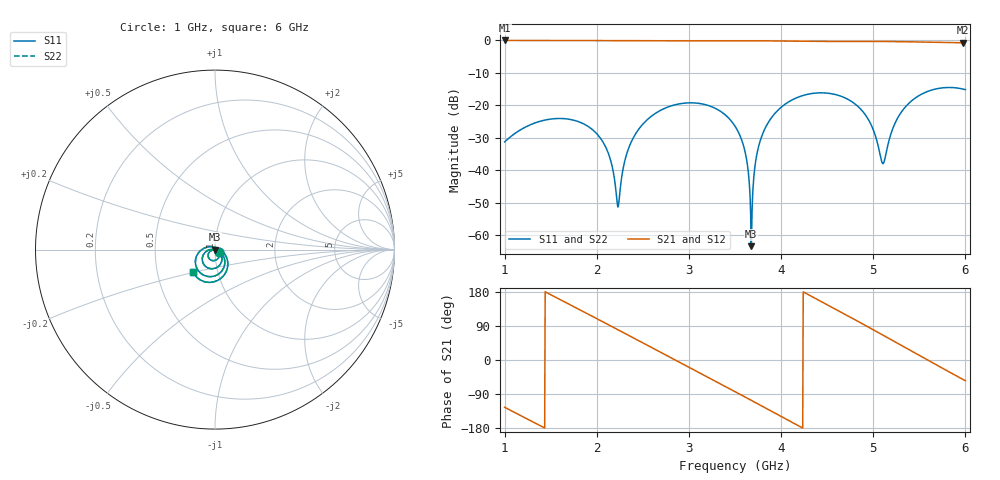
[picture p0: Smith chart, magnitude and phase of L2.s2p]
! Created Fri Aug  9 09:51:14 2024
! List of port names and net name(s): example Port n = <port_name> <net_name1> <net_name2> ...
! Port 1 = P1 P2
! Port 2 = P2 P2
# hz S ri R 50
! 2 Port Network Data from data block
! freq  reS11  imS11  reS21  imS21  reS12  imS12  reS22  imS22
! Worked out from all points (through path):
!   1001 points, 1 GHz to 6 GHz, reference 50 ohm
!   highest |S21| = -0.04 dB at 1 GHz (marker M1); lowest = -0.7 dB at 5.97 GHz (marker M2)
!   group delay of S21, straight-line fit = 361 ps
!   lowest |S11| = -63.3 dB at 3.675 GHz (marker M3), VSWR 1.00, Z = 49.9 + j0.0417 ohm
!   |S11| at or under -10 dB: start of sweep to end of sweep
!   |S22| runs from -63.3 to -14.5 dB; largest |S21 - S12| = 0
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1e9  0.0223 -0.016  -0.567 -0.8174  -0.567 -0.8174  0.0223 -0.016
1.425e9  0.00437 -0.0587  -0.9902 -0.0321  -0.9902 -0.0321  0.00437 -0.0587
1.835e9  -0.0382 -0.0379  -0.637 0.7558  -0.637 0.7558  -0.0382 -0.0379
2.095e9  -0.0222 -0.00654  -0.1219 0.981  -0.1219 0.981  -0.0222 -0.00654
2.23e9  -0.000397 -0.00271  0.1745 0.973  0.1745 0.973  -0.000397 -0.00271
2.375e9  0.0236 -0.0143  0.4754 0.8661  0.4754 0.8661  0.0236 -0.0143
2.67e9  0.0345 -0.0729  0.9041 0.3902  0.9041 0.3902  0.0345 -0.0729
3.05e9  -0.0411 -0.1012  0.8856 -0.4203  0.8856 -0.4203  -0.0411 -0.1012
3.5e9  -0.0471 -0.00869  0.1127 -0.9756  0.1127 -0.9756  -0.0471 -0.00869
3.61e9  -0.0191 0.00144  -0.1324 -0.9736  -0.1324 -0.9736  -0.0191 0.00144
3.675e9  -0.000543 0.000417  -0.2749 -0.9432  -0.2749 -0.9432  -0.000543 0.000417
3.745e9  0.0188 -0.0069  -0.4215 -0.8869  -0.4215 -0.8869  0.0188 -0.0069
3.85e9  0.0423 -0.029  -0.6196 -0.7598  -0.6196 -0.7598  0.0423 -0.029
4.335e9  -0.022 -0.1506  -0.9413 0.2106  -0.9413 0.2106  -0.022 -0.1506
4.785e9  -0.1031 -0.0373  -0.3054 0.9104  -0.3054 0.9104  -0.1031 -0.0373
4.965e9  -0.0534 0.0105  0.0919 0.9568  0.0919 0.9568  -0.0534 0.0105
5.1e9  0.00147 0.0128  0.3864 0.8789  0.3864 0.8789  0.00147 0.0128
5.17e9  0.0285 0.000418  0.5254 0.8015  0.5254 0.8015  0.0285 0.000418
5.315e9  0.0662 -0.0492  0.7604 0.5732  0.7604 0.5732  0.0662 -0.0492
5.56e9  0.0426 -0.1513  0.9341 0.0628  0.9341 0.0628  0.0426 -0.1513
5.97e9  -0.1177 -0.1342  0.5815 -0.7121  0.5815 -0.7121  -0.1177 -0.1342
6e9  -0.1241 -0.1221  0.5305 -0.751  0.5305 -0.751  -0.1241 -0.1221
